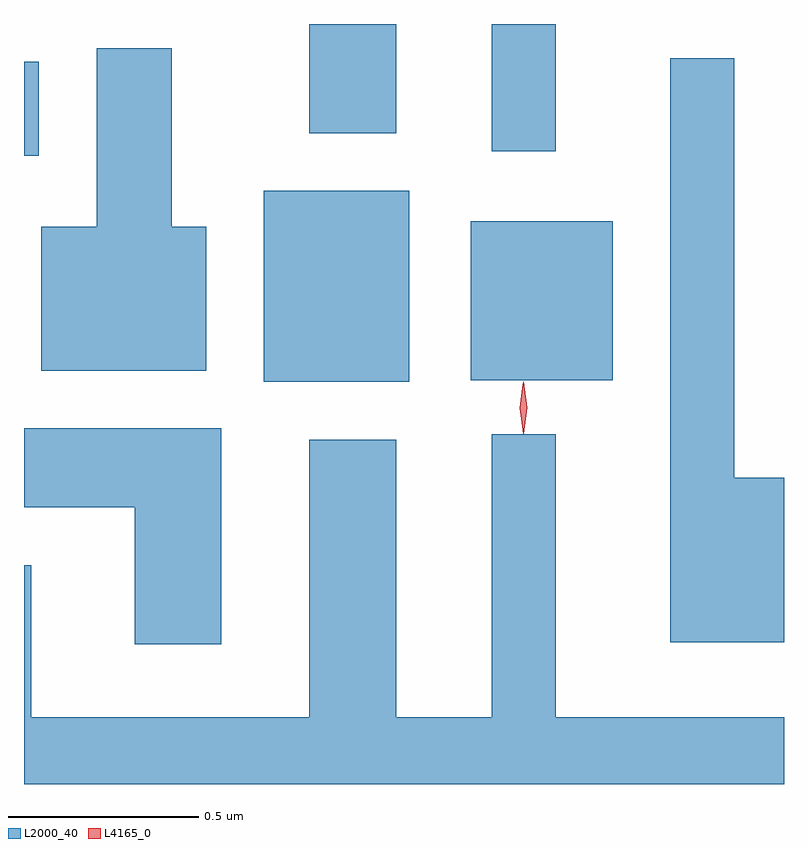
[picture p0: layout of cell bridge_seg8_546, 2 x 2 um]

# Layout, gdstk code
import gdstk
lib = gdstk.Library(unit=1e-6, precision=1e-09)
def R(c, l, rs):  # rectangles x0, y0, x1, y1
    for r in rs: c.add(gdstk.rectangle(r[:2], r[2:], *l))
def P(c, l, *ps):  # polygons
    for p in ps: c.add(gdstk.Polygon(p, *l))
L2000_40 = (2000, 40)
L4165_0 = (4165, 0)

bridge_seg8_546 = lib.new_cell('bridge_seg8_546')
R(bridge_seg8_546, L2000_40, [(212.161,1870.866,212.544,1871.369), (212.706,1870.871,213.079,1871.289), (211.53,1871.461,211.569,1871.709), (212.761,1871.473,212.929,1871.808), (212.281,1871.521,212.509,1871.808)])
P(bridge_seg8_546, L2000_40, [(212.009,1871.274),(211.919,1871.274),(211.919,1871.744),(211.721,1871.744),(211.721,1871.274),(211.576,1871.274),(211.576,1870.896),(212.009,1870.896)],
  [(213.53,1870.614),(213.399,1870.614),(213.399,1871.718),(213.231,1871.718),(213.231,1870.181),(213.53,1870.181)],
  [(212.049,1870.744),(211.53,1870.744),(211.53,1870.536),(211.821,1870.536),(211.821,1870.176),(212.049,1870.176)],
  [(213.53,1869.984),(212.929,1869.984),(212.929,1870.728),(212.761,1870.728),(212.761,1869.984),(212.509,1869.984),(212.509,1870.714),(212.281,1870.714),(212.281,1869.984),(211.549,1869.984),(211.549,1870.384),(211.53,1870.384),(211.53,1869.808),(213.53,1869.808)])
P(bridge_seg8_546, L4165_0, [(212.844,1870.733),(212.844,1870.733),(212.834,1870.797),(212.843,1870.861),(212.844,1870.862),(212.844,1870.861),(212.854,1870.798),(212.845,1870.733)],
  [(212.844,1870.73),(212.834,1870.798),(212.844,1870.866),(212.844,1870.866),(212.845,1870.866),(212.854,1870.798),(212.845,1870.73),(212.845,1870.73)])

lib.write_gds('bridge_seg8_546.gds')
